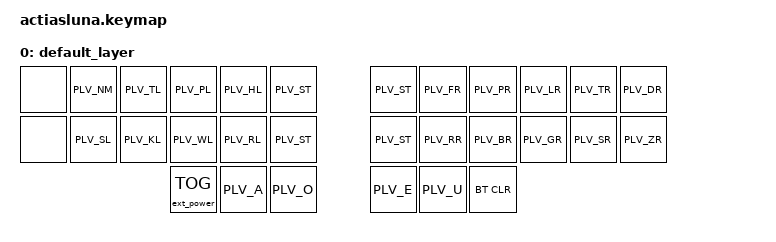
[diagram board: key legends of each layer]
/*
 * Copyright (c) 2020 The ZMK Contributors
 *
 * SPDX-License-Identifier: MIT
 */

#include <behaviors.dtsi>
#include <dt-bindings/zmk/keys.h>
#include <dt-bindings/zmk/bt.h>
#include <dt-bindings/zmk/ext_power.h>

/ {

    keymap {
        compatible = "zmk,keymap";

        default_layer {

            bindings = <
            &none    &kp PLV_NM  &kp PLV_TL  &kp PLV_PL  &kp PLV_HL  &kp PLV_ST        &kp PLV_ST  &kp PLV_FR  &kp PLV_PR  &kp PLV_LR  &kp PLV_TR  &kp PLV_DR
            &none    &kp PLV_SL  &kp PLV_KL  &kp PLV_WL  &kp PLV_RL  &kp PLV_ST        &kp PLV_ST  &kp PLV_RR  &kp PLV_BR  &kp PLV_GR  &kp PLV_SR  &kp PLV_ZR
                                             &ext_power EP_TOG  &kp PLV_A   &kp PLV_O         &kp PLV_E   &kp PLV_U   &bt BT_CLR  
            
            >;

        };
    };
};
